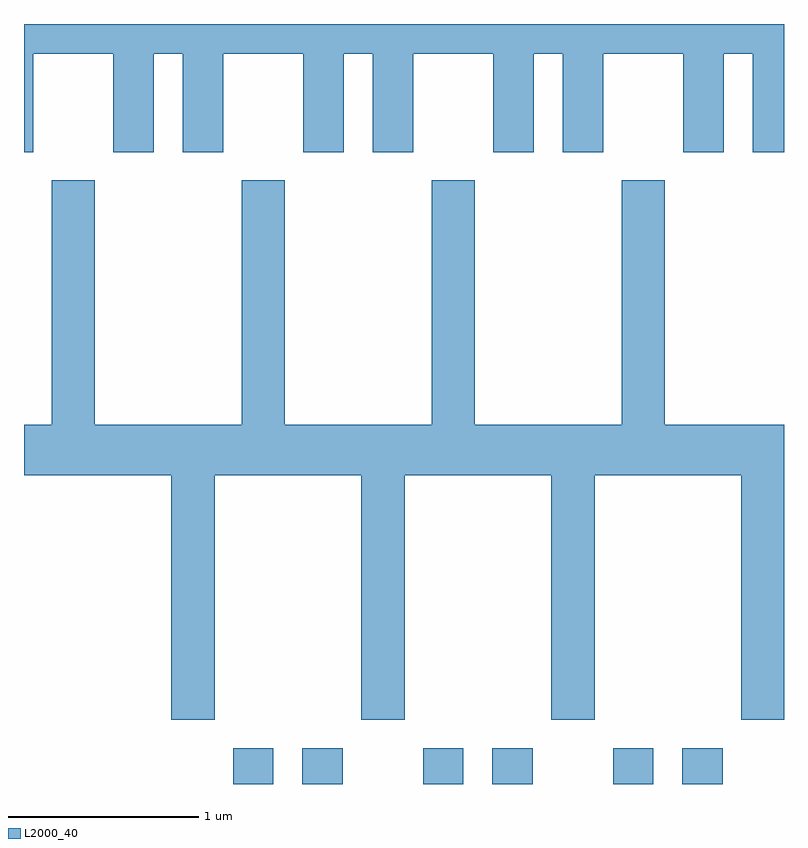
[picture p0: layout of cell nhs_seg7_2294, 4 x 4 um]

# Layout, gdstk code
import gdstk
lib = gdstk.Library(unit=1e-6, precision=1e-09)
def R(c, l, rs):  # rectangles x0, y0, x1, y1
    for r in rs: c.add(gdstk.rectangle(r[:2], r[2:], *l))
def P(c, l, *ps):  # polygons
    for p in ps: c.add(gdstk.Polygon(p, *l))
L2000_40 = (2000, 40)

nhs_seg7_2294 = lib.new_cell('nhs_seg7_2294')
R(nhs_seg7_2294, L2000_40, [(256.711,1708.252,256.924,1708.439), (257.076,1708.252,257.289,1708.439), (257.711,1708.252,257.924,1708.439), (258.076,1708.252,258.289,1708.439), (258.711,1708.252,258.924,1708.439), (259.076,1708.252,259.289,1708.439)])
P(nhs_seg7_2294, L2000_40, [(255.659,1712.096),(256.081,1712.096),(256.081,1711.576),(256.294,1711.576),(256.294,1712.096),(256.446,1712.096),(256.446,1711.576),(256.659,1711.576),(256.659,1712.096),(257.081,1712.096),(257.081,1711.576),(257.294,1711.576),(257.294,1712.096),(257.446,1712.096),(257.446,1711.576),(257.659,1711.576),(257.659,1712.096),(258.081,1712.096),(258.081,1711.576),(258.294,1711.576),(258.294,1712.096),(258.446,1712.096),(258.446,1711.576),(258.659,1711.576),(258.659,1712.096),(259.081,1712.096),(259.081,1711.576),(259.294,1711.576),(259.294,1712.096),(259.446,1712.096),(259.446,1711.576),(259.611,1711.576),(259.611,1712.252),(255.611,1712.252),(255.611,1711.576),(255.659,1711.576)],
  [(257.386,1708.591),(257.614,1708.591),(257.614,1709.876),(258.386,1709.876),(258.386,1708.591),(258.614,1708.591),(258.614,1709.876),(259.386,1709.876),(259.386,1708.591),(259.611,1708.591),(259.611,1710.144),(258.984,1710.144),(258.984,1711.429),(258.756,1711.429),(258.756,1710.144),(257.984,1710.144),(257.984,1711.429),(257.756,1711.429),(257.756,1710.144),(256.984,1710.144),(256.984,1711.429),(256.756,1711.429),(256.756,1710.144),(255.984,1710.144),(255.984,1711.429),(255.756,1711.429),(255.756,1710.144),(255.611,1710.144),(255.611,1709.876),(256.386,1709.876),(256.386,1708.591),(256.614,1708.591),(256.614,1709.876),(257.386,1709.876)])

lib.write_gds('nhs_seg7_2294.gds')
